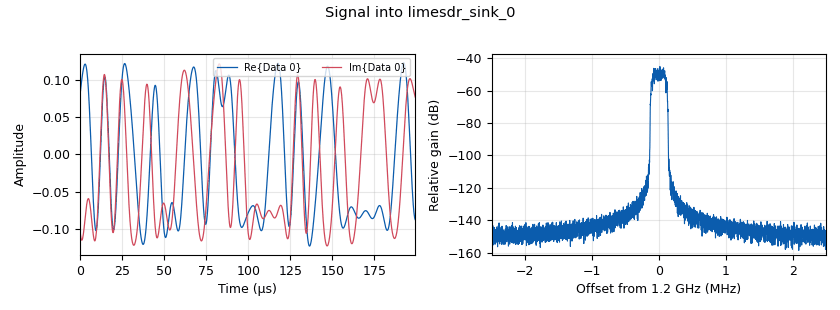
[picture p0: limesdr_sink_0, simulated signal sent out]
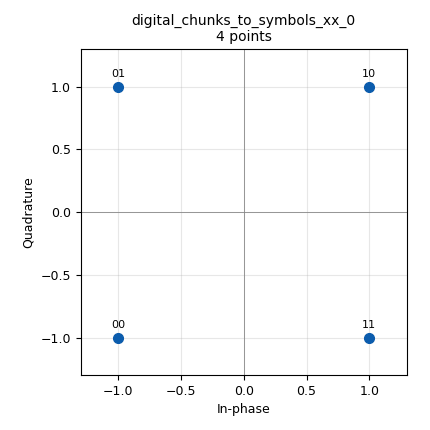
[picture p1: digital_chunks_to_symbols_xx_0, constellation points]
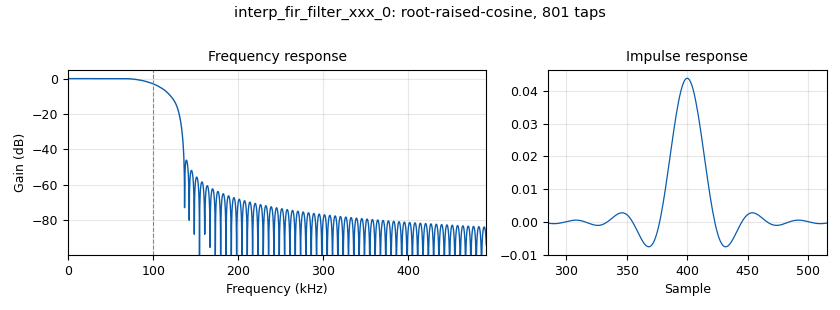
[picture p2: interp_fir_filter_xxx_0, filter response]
<?xml version='1.0' encoding='utf-8'?>
<?grc format='1' created='3.7.11'?>
<flow_graph>
<block>
<key>options</key>
<param><key>id</key><value>top_block</value></param>
<param><key>generate_options</key><value>qt_gui</value></param>
</block>
<block>
<key>variable_qtgui_range</key>
<param><key>id</key><value>center_freq</value></param>
<param><key>value</key><value>1200000000</value></param>
<param><key>gui_hint</key><value>2,0,1,1</value></param>
<param><key>label</key><value>Center Frequency</value></param>
<param><key>orient</key><value>Qt.Horizontal</value></param>
<param><key>start</key><value>50e6</value></param>
<param><key>step</key><value>1000</value></param>
<param><key>stop</key><value>3000e6</value></param>
</block>
<block>
<key>variable_rrc_filter_taps</key>
<param><key>id</key><value>rrc_filter_taps</value></param>
<param><key>alpha</key><value>0.35</value></param>
<param><key>gain</key><value>1.0</value></param>
<param><key>ntaps</key><value>32*sps+1</value></param>
<param><key>samp_rate</key><value>samp_rate</value></param>
<param><key>sym_rate</key><value>samp_rate/sps</value></param>
</block>
<block>
<key>variable_qtgui_range</key>
<param><key>id</key><value>rx_gain</value></param>
<param><key>value</key><value>30</value></param>
<param><key>gui_hint</key><value>5,0,1,1</value></param>
<param><key>label</key><value>Rx Gain</value></param>
<param><key>orient</key><value>Qt.Horizontal</value></param>
<param><key>start</key><value>0</value></param>
<param><key>step</key><value>1</value></param>
<param><key>stop</key><value>60</value></param>
<param><key>rangeType</key><value>int</value></param>
</block>
<block>
<key>variable</key>
<param><key>id</key><value>samp_rate</value></param>
<param><key>value</key><value>5000000</value></param>
</block>
<block>
<key>variable</key>
<param><key>id</key><value>signal_bandwidth</value></param>
<param><key>comment</key><value>Adjust this value to set the 
bandwidth of the signal</value></param>
<param><key>value</key><value>200000</value></param>
</block>
<block>
<key>variable</key>
<param><key>id</key><value>sps</value></param>
<param><key>value</key><value>samp_rate/signal_bandwidth</value></param>
</block>
<block>
<key>variable_qtgui_range</key>
<param><key>id</key><value>tone_freq_offset</value></param>
<param><key>value</key><value>0</value></param>
<param><key>gui_hint</key><value>3,0,1,1</value></param>
<param><key>label</key><value>Offset Frequency</value></param>
<param><key>orient</key><value>Qt.Horizontal</value></param>
<param><key>start</key><value>-samp_rate/2</value></param>
<param><key>step</key><value>200</value></param>
<param><key>stop</key><value>samp_rate/2</value></param>
</block>
<block>
<key>variable_qtgui_range</key>
<param><key>id</key><value>tx_gain</value></param>
<param><key>value</key><value>30</value></param>
<param><key>gui_hint</key><value>4,0,1,1</value></param>
<param><key>label</key><value>Tx Gain</value></param>
<param><key>orient</key><value>Qt.Horizontal</value></param>
<param><key>start</key><value>0</value></param>
<param><key>step</key><value>1</value></param>
<param><key>stop</key><value>60</value></param>
<param><key>rangeType</key><value>int</value></param>
</block>
<block>
<key>analog_random_source_x</key>
<param><key>id</key><value>analog_random_source_x_0</value></param>
<param><key>max</key><value>4</value></param>
<param><key>min</key><value>0</value></param>
<param><key>num_samps</key><value>50000</value></param>
<param><key>type</key><value>int</value></param>
<param><key>repeat</key><value>True</value></param>
</block>
<block>
<key>blocks_complex_to_mag_squared</key>
<param><key>id</key><value>blocks_complex_to_mag_squared_0</value></param>
</block>
<block>
<key>blocks_multiply_const_vxx</key>
<param><key>id</key><value>blocks_multiply_const_vxx_0</value></param>
<param><key>const</key><value>100</value></param>
<param><key>type</key><value>float</value></param>
</block>
<block>
<key>blocks_multiply_xx</key>
<param><key>id</key><value>blocks_multiply_xx_0</value></param>
<param><key>type</key><value>complex</value></param>
</block>
<block>
<key>digital_chunks_to_symbols_xx</key>
<param><key>id</key><value>digital_chunks_to_symbols_xx_0</value></param>
<param><key>dimension</key><value>1</value></param>
<param><key>in_type</key><value>int</value></param>
<param><key>out_type</key><value>complex</value></param>
<param><key>symbol_table</key><value>[-1-1j, -1+1j, 1+1j, 1-1j]</value></param>
</block>
<block>
<key>analog_sig_source_x</key>
<param><key>id</key><value>frequency_shift_source</value></param>
<param><key>amp</key><value>2</value></param>
<param><key>freq</key><value>tone_freq_offset</value></param>
<param><key>offset</key><value>0</value></param>
<param><key>type</key><value>complex</value></param>
<param><key>samp_rate</key><value>samp_rate</value></param>
<param><key>waveform</key><value>analog.GR_COS_WAVE</value></param>
</block>
<block>
<key>interp_fir_filter_xxx</key>
<param><key>id</key><value>interp_fir_filter_xxx_0</value></param>
<param><key>interp</key><value>sps</value></param>
<param><key>taps</key><value>rrc_filter_taps</value></param>
<param><key>type</key><value>ccc</value></param>
</block>
<block>
<key>limesdr_sink</key>
<param><key>id</key><value>limesdr_sink_0</value></param>
<param><key>channel</key><value>0</value></param>
<param><key>analog_bandw_ch0</key><value>samp_rate</value></param>
<param><key>analog_filter_ch0</key><value>0</value></param>
<param><key>cmix_mode_ch0</key><value>0</value></param>
<param><key>calibr_bandw_ch0</key><value>samp_rate</value></param>
<param><key>calibration_ch0</key><value>1</value></param>
<param><key>digital_bandw_ch0</key><value>2e6</value></param>
<param><key>digital_filter_ch0</key><value>0</value></param>
<param><key>gain_dB_ch0</key><value>tx_gain</value></param>
<param><key>pa_path_ch0</key><value>1</value></param>
<param><key>pa_path_mini</key><value>1</value></param>
<param><key>analog_filter_ch1</key><value>1</value></param>
<param><key>cmix_mode_ch1</key><value>0</value></param>
<param><key>calibr_bandw_ch1</key><value>10e6</value></param>
<param><key>calibration_ch1</key><value>0</value></param>
<param><key>digital_bandw_ch1</key><value>0</value></param>
<param><key>digital_filter_ch1</key><value>0</value></param>
<param><key>gain_dB_ch1</key><value>30</value></param>
<param><key>pa_path_ch1</key><value>1</value></param>
<param><key>chip_mode</key><value>1</value></param>
<param><key>serial</key><value>1D40F7A60B4B4E</value></param>
<param><key>device_type</key><value>1</value></param>
<param><key>file_switch</key><value>0</value></param>
<param><key>oversample</key><value>0</value></param>
<param><key>rf_freq</key><value>center_freq</value></param>
<param><key>samp_rate</key><value>samp_rate</value></param>
</block>
<block>
<key>limesdr_source</key>
<param><key>id</key><value>limesdr_source_0</value></param>
<param><key>channel</key><value>0</value></param>
<param><key>analog_bandw_ch0</key><value>5e6</value></param>
<param><key>analog_filter_ch0</key><value>0</value></param>
<param><key>cmix_mode_ch0</key><value>1</value></param>
<param><key>calibr_bandw_ch0</key><value>samp_rate</value></param>
<param><key>calibration_ch0</key><value>1</value></param>
<param><key>digital_bandw_ch0</key><value>0</value></param>
<param><key>digital_filter_ch0</key><value>0</value></param>
<param><key>gain_dB_ch0</key><value>rx_gain</value></param>
<param><key>lna_path_ch0</key><value>1</value></param>
<param><key>lna_path_mini</key><value>3</value></param>
<param><key>analog_bandw_ch1</key><value>5e6</value></param>
<param><key>analog_filter_ch1</key><value>1</value></param>
<param><key>cmix_mode_ch1</key><value>0</value></param>
<param><key>calibr_bandw_ch1</key><value>10e6</value></param>
<param><key>calibration_ch1</key><value>0</value></param>
<param><key>digital_bandw_ch1</key><value>0</value></param>
<param><key>digital_filter_ch1</key><value>0</value></param>
<param><key>gain_dB_ch1</key><value>30</value></param>
<param><key>chip_mode</key><value>1</value></param>
<param><key>serial</key><value>1D40F7A60B4B4E</value></param>
<param><key>device_type</key><value>1</value></param>
<param><key>file_switch</key><value>0</value></param>
<param><key>oversample</key><value>0</value></param>
<param><key>rf_freq</key><value>center_freq</value></param>
<param><key>samp_rate</key><value>samp_rate</value></param>
</block>
<block>
<key>note</key>
<param><key>id</key><value>note_0</value></param>
<param><key>comment</key><value>This is an in-efficient way to generate a pulse 
shaped waveform. It would be more efficient 
to generate it at a lower/fixed sample rate, then 
upsample to samp_rate before Tx.</value></param>
<param><key>note</key><value>Read comments</value></param>
</block>
<block>
<key>qtgui_freq_sink_x</key>
<param><key>id</key><value>qtgui_freq_sink_x_0</value></param>
<param><key>bw</key><value>samp_rate</value></param>
<param><key>fc</key><value>center_freq</value></param>
<param><key>fftsize</key><value>2048</value></param>
<param><key>gui_hint</key><value>0,0,2,1</value></param>
<param><key>grid</key><value>True</value></param>
<param><key>alpha1</key><value>0.5</value></param>
<param><key>label1</key><value>Tx</value></param>
<param><key>alpha2</key><value>0.5</value></param>
<param><key>label2</key><value>Rx</value></param>
<param><key>label3</key><value></value></param>
<param><key>nconnections</key><value>3</value></param>
<param><key>showports</key><value>True</value></param>
<param><key>type</key><value>complex</value></param>
<param><key>wintype</key><value>firdes.WIN_HAMMING</value></param>
<param><key>units</key><value>dBm</value></param>
</block>
<block>
<key>qtgui_time_sink_x</key>
<param><key>id</key><value>qtgui_time_sink_x_0</value></param>
<param><key>grid</key><value>True</value></param>
<param><key>legend</key><value>False</value></param>
<param><key>color1</key><value>"blue"</value></param>
<param><key>label1</key><value></value></param>
<param><key>name</key><value>Time Plot</value></param>
<param><key>size</key><value>5000</value></param>
<param><key>srate</key><value>samp_rate</value></param>
<param><key>type</key><value>float</value></param>
<param><key>ymax</key><value>10</value></param>
<param><key>ymin</key><value>-90</value></param>
</block>
<connection><source_block_id>analog_random_source_x_0</source_block_id><sink_block_id>digital_chunks_to_symbols_xx_0</sink_block_id><source_key>0</source_key><sink_key>0</sink_key></connection>
<connection><source_block_id>blocks_complex_to_mag_squared_0</source_block_id><sink_block_id>blocks_multiply_const_vxx_0</sink_block_id><source_key>0</source_key><sink_key>0</sink_key></connection>
<connection><source_block_id>blocks_multiply_const_vxx_0</source_block_id><sink_block_id>qtgui_time_sink_x_0</sink_block_id><source_key>0</source_key><sink_key>0</sink_key></connection>
<connection><source_block_id>blocks_multiply_xx_0</source_block_id><sink_block_id>limesdr_sink_0</sink_block_id><source_key>0</source_key><sink_key>0</sink_key></connection>
<connection><source_block_id>blocks_multiply_xx_0</source_block_id><sink_block_id>qtgui_freq_sink_x_0</sink_block_id><source_key>0</source_key><sink_key>0</sink_key></connection>
<connection><source_block_id>digital_chunks_to_symbols_xx_0</source_block_id><sink_block_id>interp_fir_filter_xxx_0</sink_block_id><source_key>0</source_key><sink_key>0</sink_key></connection>
<connection><source_block_id>frequency_shift_source</source_block_id><sink_block_id>blocks_multiply_xx_0</sink_block_id><source_key>0</source_key><sink_key>1</sink_key></connection>
<connection><source_block_id>frequency_shift_source</source_block_id><sink_block_id>qtgui_freq_sink_x_0</sink_block_id><source_key>0</source_key><sink_key>2</sink_key></connection>
<connection><source_block_id>interp_fir_filter_xxx_0</source_block_id><sink_block_id>blocks_multiply_xx_0</sink_block_id><source_key>0</source_key><sink_key>0</sink_key></connection>
<connection><source_block_id>limesdr_source_0</source_block_id><sink_block_id>blocks_complex_to_mag_squared_0</sink_block_id><source_key>0</source_key><sink_key>0</sink_key></connection>
<connection><source_block_id>limesdr_source_0</source_block_id><sink_block_id>qtgui_freq_sink_x_0</sink_block_id><source_key>0</source_key><sink_key>1</sink_key></connection>
</flow_graph>
